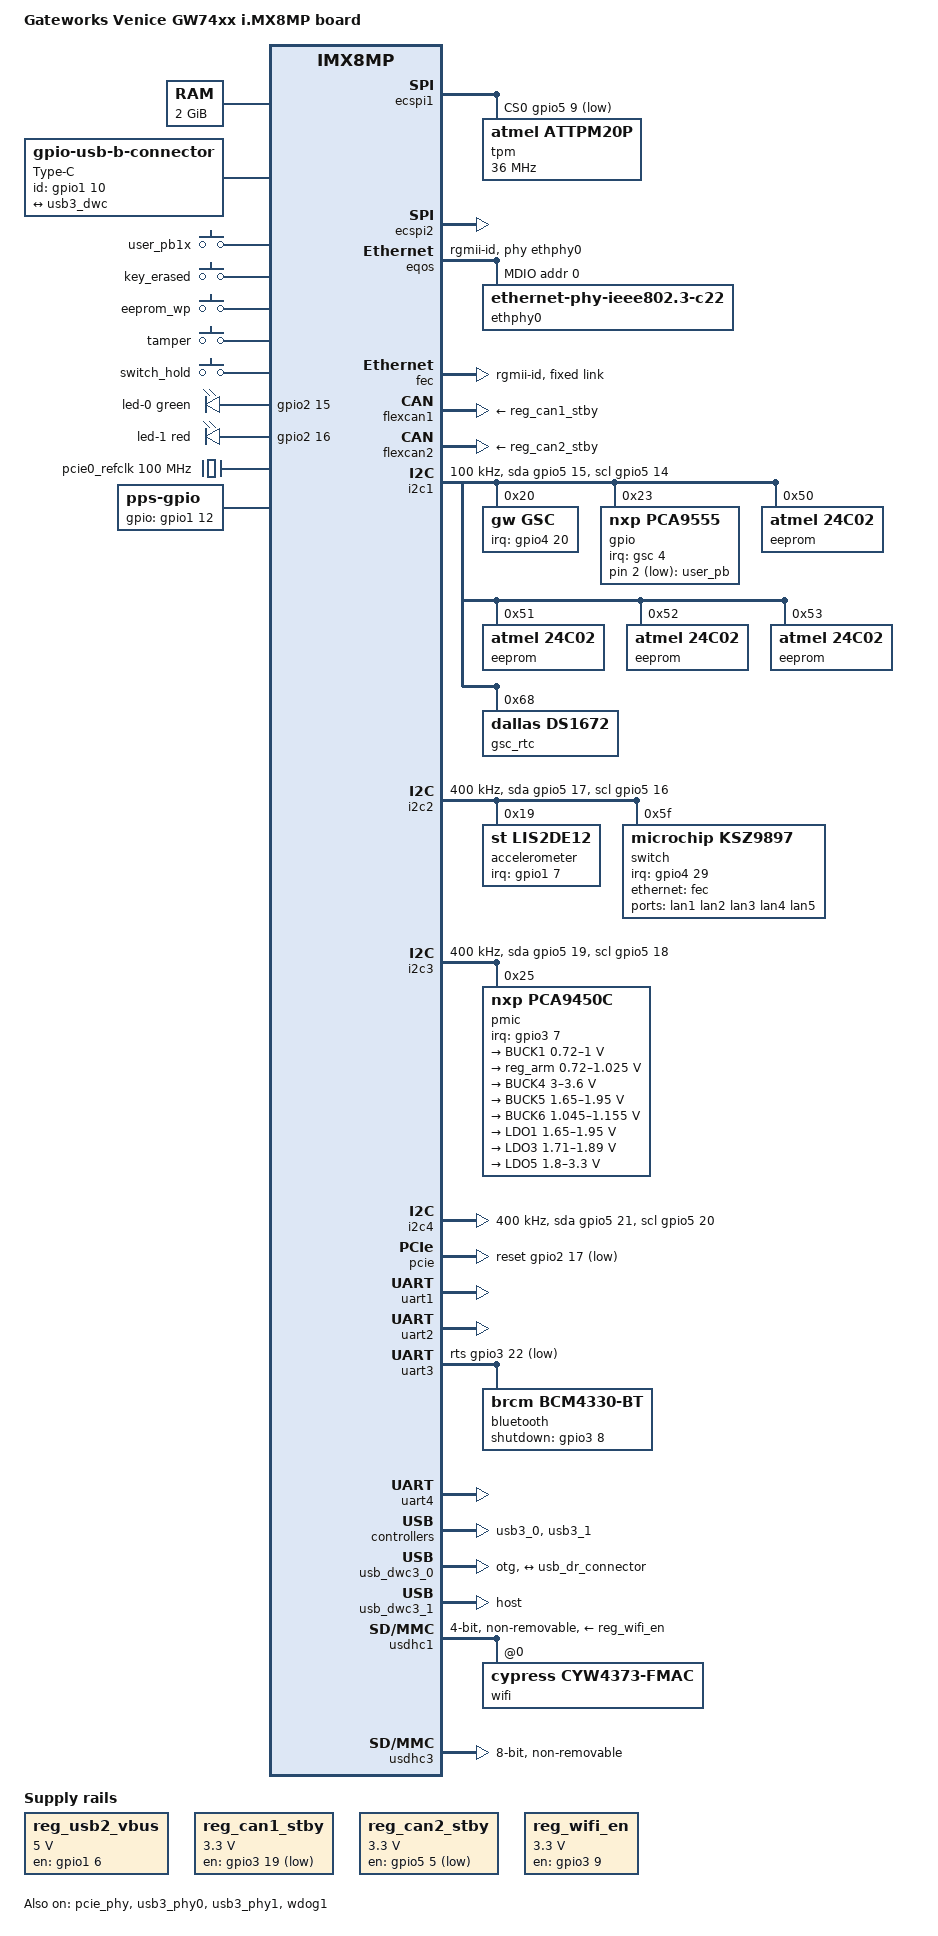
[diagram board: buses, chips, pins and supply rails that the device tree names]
// SPDX-License-Identifier: (GPL-2.0+ OR MIT)
/*
 * Copyright 2021 Gateworks Corporation
 */

/dts-v1/;

#include <dt-bindings/gpio/gpio.h>
#include <dt-bindings/input/linux-event-codes.h>
#include <dt-bindings/leds/common.h>
#include <dt-bindings/phy/phy-imx8-pcie.h>
#include <dt-bindings/net/ti-dp83867.h>

#include "imx8mp.dtsi"

/ {
	model = "Gateworks Venice GW74xx i.MX8MP board";
	compatible = "gateworks,imx8mp-gw74xx", "fsl,imx8mp";

	aliases {
		ethernet0 = &eqos;
		ethernet1 = &fec;
		ethernet2 = &lan1;
		ethernet3 = &lan2;
		ethernet4 = &lan3;
		ethernet5 = &lan4;
		ethernet6 = &lan5;
		rtc0 = &gsc_rtc;
		rtc1 = &snvs_rtc;
	};

	chosen {
		stdout-path = &uart2;
	};

	memory@40000000 {
		device_type = "memory";
		reg = <0x0 0x40000000 0 0x80000000>;
	};

	connector {
		pinctrl-names = "default";
		pinctrl-0 = <&pinctrl_usbcon1>;
		compatible = "gpio-usb-b-connector", "usb-b-connector";
		type = "micro";
		label = "Type-C";
		id-gpios = <&gpio1 10 GPIO_ACTIVE_HIGH>;

		port {
			usb_dr_connector: endpoint {
				remote-endpoint = <&usb3_dwc>;
			};
		};
	};

	gpio-keys {
		compatible = "gpio-keys";

		key-0 {
			label = "user_pb";
			gpios = <&gpio 2 GPIO_ACTIVE_LOW>;
			linux,code = <BTN_0>;
		};

		key-1 {
			label = "user_pb1x";
			linux,code = <BTN_1>;
			interrupt-parent = <&gsc>;
			interrupts = <0>;
		};

		key-2 {
			label = "key_erased";
			linux,code = <BTN_2>;
			interrupt-parent = <&gsc>;
			interrupts = <1>;
		};

		key-3 {
			label = "eeprom_wp";
			linux,code = <BTN_3>;
			interrupt-parent = <&gsc>;
			interrupts = <2>;
		};

		key-4 {
			label = "tamper";
			linux,code = <BTN_4>;
			interrupt-parent = <&gsc>;
			interrupts = <5>;
		};

		key-5 {
			label = "switch_hold";
			linux,code = <BTN_5>;
			interrupt-parent = <&gsc>;
			interrupts = <7>;
		};
	};

	led-controller {
		compatible = "gpio-leds";
		pinctrl-names = "default";
		pinctrl-0 = <&pinctrl_gpio_leds>;

		led-0 {
			function = LED_FUNCTION_HEARTBEAT;
			color = <LED_COLOR_ID_GREEN>;
			gpios = <&gpio2 15 GPIO_ACTIVE_HIGH>;
			default-state = "on";
			linux,default-trigger = "heartbeat";
		};

		led-1 {
			function = LED_FUNCTION_STATUS;
			color = <LED_COLOR_ID_RED>;
			gpios = <&gpio2 16 GPIO_ACTIVE_HIGH>;
			default-state = "off";
		};
	};

	pcie0_refclk: pcie0-refclk {
		compatible = "fixed-clock";
		#clock-cells = <0>;
		clock-frequency = <100000000>;
	};

	pps {
		compatible = "pps-gpio";
		pinctrl-names = "default";
		pinctrl-0 = <&pinctrl_pps>;
		gpios = <&gpio1 12 GPIO_ACTIVE_HIGH>;
	};

	reg_usb2_vbus: regulator-usb2 {
		pinctrl-names = "default";
		pinctrl-0 = <&pinctrl_reg_usb2>;
		compatible = "regulator-fixed";
		regulator-name = "usb_usb2_vbus";
		gpio = <&gpio1 6 GPIO_ACTIVE_HIGH>;
		enable-active-high;
		regulator-min-microvolt = <5000000>;
		regulator-max-microvolt = <5000000>;
	};

	reg_can1_stby: regulator-can1-stby {
		compatible = "regulator-fixed";
		pinctrl-names = "default";
		pinctrl-0 = <&pinctrl_reg_can1>;
		regulator-name = "can1_stby";
		gpio = <&gpio3 19 GPIO_ACTIVE_LOW>;
		regulator-min-microvolt = <3300000>;
		regulator-max-microvolt = <3300000>;
	};

	reg_can2_stby: regulator-can2-stby {
		compatible = "regulator-fixed";
		pinctrl-names = "default";
		pinctrl-0 = <&pinctrl_reg_can2>;
		regulator-name = "can2_stby";
		gpio = <&gpio5 5 GPIO_ACTIVE_LOW>;
		regulator-min-microvolt = <3300000>;
		regulator-max-microvolt = <3300000>;
	};

	reg_wifi_en: regulator-wifi-en {
		pinctrl-names = "default";
		pinctrl-0 = <&pinctrl_reg_wifi>;
		compatible = "regulator-fixed";
		regulator-name = "wl";
		gpio = <&gpio3 9 GPIO_ACTIVE_HIGH>;
		startup-delay-us = <70000>;
		enable-active-high;
		regulator-min-microvolt = <3300000>;
		regulator-max-microvolt = <3300000>;
	};
};

&A53_0 {
	cpu-supply = <&reg_arm>;
};

&A53_1 {
	cpu-supply = <&reg_arm>;
};

&A53_2 {
	cpu-supply = <&reg_arm>;
};

&A53_3 {
	cpu-supply = <&reg_arm>;
};

&ecspi1 {
	pinctrl-names = "default";
	pinctrl-0 = <&pinctrl_spi1>;
	cs-gpios = <&gpio5 9 GPIO_ACTIVE_LOW>;
	status = "okay";

	tpm@0 {
		compatible = "atmel,attpm20p", "tcg,tpm_tis-spi";
		reg = <0x0>;
		spi-max-frequency = <36000000>;
	};
};

/* off-board header */
&ecspi2 {
	pinctrl-names = "default";
	pinctrl-0 = <&pinctrl_spi2>;
	cs-gpios = <&gpio5 13 GPIO_ACTIVE_LOW>;
	status = "okay";
};

&eqos {
	pinctrl-names = "default";
	pinctrl-0 = <&pinctrl_eqos>;
	phy-mode = "rgmii-id";
	phy-handle = <&ethphy0>;
	status = "okay";

	mdio {
		compatible = "snps,dwmac-mdio";
		#address-cells = <1>;
		#size-cells = <0>;

		ethphy0: ethernet-phy@0 {
			compatible = "ethernet-phy-ieee802.3-c22";
			reg = <0x0>;
			ti,rx-internal-delay = <DP83867_RGMIIDCTL_2_00_NS>;
			ti,tx-internal-delay = <DP83867_RGMIIDCTL_2_00_NS>;
			tx-fifo-depth = <DP83867_PHYCR_FIFO_DEPTH_4_B_NIB>;
			rx-fifo-depth = <DP83867_PHYCR_FIFO_DEPTH_4_B_NIB>;

			leds {
				#address-cells = <1>;
				#size-cells = <0>;

				led@1 {
					reg = <1>;
					color = <LED_COLOR_ID_AMBER>;
					function = LED_FUNCTION_LAN;
					default-state = "keep";
				};

				led@2 {
					reg = <2>;
					color = <LED_COLOR_ID_GREEN>;
					function = LED_FUNCTION_LAN;
					default-state = "keep";
				};
			};
		};
	};
};

&fec {
	pinctrl-names = "default";
	pinctrl-0 = <&pinctrl_fec>;
	phy-mode = "rgmii-id";
	local-mac-address = [00 00 00 00 00 00];
	status = "okay";

	fixed-link {
		speed = <1000>;
		full-duplex;
	};
};

&flexcan1 {
	pinctrl-names = "default";
	pinctrl-0 = <&pinctrl_flexcan1>;
	xceiver-supply = <&reg_can1_stby>;
	status = "okay";
};

&flexcan2 {
	pinctrl-names = "default";
	pinctrl-0 = <&pinctrl_flexcan2>;
	xceiver-supply = <&reg_can2_stby>;
	status = "okay";
};

&gpio1 {
	gpio-line-names =
		"", "", "", "", "", "", "", "",
		"", "dio0", "", "dio1", "", "", "", "",
		"", "", "", "", "", "", "", "",
		"", "", "", "", "", "", "", "";
};

&gpio2 {
	gpio-line-names =
		"", "", "", "", "", "", "m2_pin20", "",
		"", "", "", "", "", "pcie1_wdis#", "pcie3_wdis#", "",
		"", "", "pcie2_wdis#", "", "", "", "", "",
		"", "", "", "", "", "", "", "";
};

&gpio3 {
	gpio-line-names =
		"", "", "", "", "", "", "m2_rst", "",
		"", "", "", "", "", "", "m2_gpio10", "",
		"", "", "", "", "", "", "", "",
		"", "", "", "", "", "", "", "";
};

&gpio4 {
	gpio-line-names =
		"", "", "m2_off#", "", "", "", "", "",
		"", "", "", "", "", "", "", "",
		"", "", "m2_wdis#", "", "", "", "", "",
		"", "", "", "", "", "", "", "rs485_en";
};

&gpio5 {
	gpio-line-names =
		"rs485_hd", "rs485_term", "", "", "", "", "", "",
		"", "", "", "", "", "", "", "",
		"", "", "", "", "", "", "", "",
		"", "", "", "", "", "", "", "";
};

&i2c1 {
	clock-frequency = <100000>;
	pinctrl-names = "default", "gpio";
	pinctrl-0 = <&pinctrl_i2c1>;
	pinctrl-1 = <&pinctrl_i2c1_gpio>;
	scl-gpios = <&gpio5 14 (GPIO_ACTIVE_HIGH | GPIO_OPEN_DRAIN)>;
	sda-gpios = <&gpio5 15 (GPIO_ACTIVE_HIGH | GPIO_OPEN_DRAIN)>;
	status = "okay";

	gsc: gsc@20 {
		compatible = "gw,gsc";
		reg = <0x20>;
		pinctrl-0 = <&pinctrl_gsc>;
		interrupt-parent = <&gpio4>;
		interrupts = <20 IRQ_TYPE_EDGE_FALLING>;
		interrupt-controller;
		#interrupt-cells = <1>;
		#address-cells = <1>;
		#size-cells = <0>;

		adc {
			compatible = "gw,gsc-adc";
			#address-cells = <1>;
			#size-cells = <0>;

			channel@6 {
				gw,mode = <0>;
				reg = <0x06>;
				label = "temp";
			};

			channel@8 {
				gw,mode = <3>;
				reg = <0x08>;
				label = "vdd_bat";
			};

			channel@16 {
				gw,mode = <4>;
				reg = <0x16>;
				label = "fan_tach";
			};

			channel@82 {
				gw,mode = <2>;
				reg = <0x82>;
				label = "vdd_adc1";
				gw,voltage-divider-ohms = <10000 10000>;
			};

			channel@84 {
				gw,mode = <2>;
				reg = <0x84>;
				label = "vdd_adc2";
				gw,voltage-divider-ohms = <10000 10000>;
			};

			channel@86 {
				gw,mode = <2>;
				reg = <0x86>;
				label = "vdd_vin";
				gw,voltage-divider-ohms = <22100 1000>;
			};

			channel@88 {
				gw,mode = <2>;
				reg = <0x88>;
				label = "vdd_3p3";
				gw,voltage-divider-ohms = <10000 10000>;
			};

			channel@8c {
				gw,mode = <2>;
				reg = <0x8c>;
				label = "vdd_2p5";
				gw,voltage-divider-ohms = <10000 10000>;
			};

			channel@90 {
				gw,mode = <2>;
				reg = <0x90>;
				label = "vdd_soc";
			};

			channel@92 {
				gw,mode = <2>;
				reg = <0x92>;
				label = "vdd_arm";
			};

			channel@98 {
				gw,mode = <2>;
				reg = <0x98>;
				label = "vdd_1p8";
			};

			channel@9a {
				gw,mode = <2>;
				reg = <0x9a>;
				label = "vdd_1p2";
			};

			channel@9c {
				gw,mode = <2>;
				reg = <0x9c>;
				label = "vdd_dram";
			};

			channel@9e {
				gw,mode = <2>;
				reg = <0x9e>;
				label = "vdd_1p0";
			};

			channel@a2 {
				gw,mode = <2>;
				reg = <0xa2>;
				label = "vdd_gsc";
				gw,voltage-divider-ohms = <10000 10000>;
			};
		};

		fan-controller@a {
			compatible = "gw,gsc-fan";
			reg = <0x0a>;
		};
	};

	gpio: gpio@23 {
		compatible = "nxp,pca9555";
		reg = <0x23>;
		gpio-controller;
		#gpio-cells = <2>;
		interrupt-parent = <&gsc>;
		interrupts = <4>;
	};

	eeprom@50 {
		compatible = "atmel,24c02";
		reg = <0x50>;
		pagesize = <16>;
	};

	eeprom@51 {
		compatible = "atmel,24c02";
		reg = <0x51>;
		pagesize = <16>;
	};

	eeprom@52 {
		compatible = "atmel,24c02";
		reg = <0x52>;
		pagesize = <16>;
	};

	eeprom@53 {
		compatible = "atmel,24c02";
		reg = <0x53>;
		pagesize = <16>;
	};

	gsc_rtc: rtc@68 {
		compatible = "dallas,ds1672";
		reg = <0x68>;
	};
};

&i2c2 {
	clock-frequency = <400000>;
	pinctrl-names = "default", "gpio";
	pinctrl-0 = <&pinctrl_i2c2>;
	pinctrl-1 = <&pinctrl_i2c2_gpio>;
	scl-gpios = <&gpio5 16 (GPIO_ACTIVE_HIGH | GPIO_OPEN_DRAIN)>;
	sda-gpios = <&gpio5 17 (GPIO_ACTIVE_HIGH | GPIO_OPEN_DRAIN)>;
	status = "okay";

	accelerometer@19 {
		compatible = "st,lis2de12";
		pinctrl-names = "default";
		pinctrl-0 = <&pinctrl_accel>;
		reg = <0x19>;
		st,drdy-int-pin = <1>;
		interrupt-parent = <&gpio1>;
		interrupts = <7 IRQ_TYPE_LEVEL_LOW>;
	};

	switch: switch@5f {
		compatible = "microchip,ksz9897";
		reg = <0x5f>;
		pinctrl-0 = <&pinctrl_ksz>;
		interrupt-parent = <&gpio4>;
		interrupts = <29 IRQ_TYPE_EDGE_FALLING>;

		ports {
			#address-cells = <1>;
			#size-cells = <0>;

			lan1: port@0 {
				reg = <0>;
				label = "lan1";
				phy-mode = "internal";
				local-mac-address = [00 00 00 00 00 00];
			};

			lan2: port@1 {
				reg = <1>;
				label = "lan2";
				phy-mode = "internal";
				local-mac-address = [00 00 00 00 00 00];
			};

			lan3: port@2 {
				reg = <2>;
				label = "lan3";
				phy-mode = "internal";
				local-mac-address = [00 00 00 00 00 00];
			};

			lan4: port@3 {
				reg = <3>;
				label = "lan4";
				phy-mode = "internal";
				local-mac-address = [00 00 00 00 00 00];
			};

			lan5: port@4 {
				reg = <4>;
				label = "lan5";
				phy-mode = "internal";
				local-mac-address = [00 00 00 00 00 00];
			};

			port@5 {
				reg = <5>;
				ethernet = <&fec>;
				phy-mode = "rgmii-id";

				fixed-link {
					speed = <1000>;
					full-duplex;
				};
			};
		};
	};
};

&i2c3 {
	clock-frequency = <400000>;
	pinctrl-names = "default", "gpio";
	pinctrl-0 = <&pinctrl_i2c3>;
	pinctrl-1 = <&pinctrl_i2c3_gpio>;
	scl-gpios = <&gpio5 18 (GPIO_ACTIVE_HIGH | GPIO_OPEN_DRAIN)>;
	sda-gpios = <&gpio5 19 (GPIO_ACTIVE_HIGH | GPIO_OPEN_DRAIN)>;
	status = "okay";

	pmic@25 {
		compatible = "nxp,pca9450c";
		reg = <0x25>;
		pinctrl-names = "default";
		pinctrl-0 = <&pinctrl_pmic>;
		interrupt-parent = <&gpio3>;
		interrupts = <7 IRQ_TYPE_LEVEL_LOW>;

		regulators {
			BUCK1 {
				regulator-name = "BUCK1";
				regulator-min-microvolt = <720000>;
				regulator-max-microvolt = <1000000>;
				regulator-boot-on;
				regulator-always-on;
				regulator-ramp-delay = <3125>;
			};

			reg_arm: BUCK2 {
				regulator-name = "BUCK2";
				regulator-min-microvolt = <720000>;
				regulator-max-microvolt = <1025000>;
				regulator-boot-on;
				regulator-always-on;
				regulator-ramp-delay = <3125>;
				nxp,dvs-run-voltage = <950000>;
				nxp,dvs-standby-voltage = <850000>;
			};

			BUCK4 {
				regulator-name = "BUCK4";
				regulator-min-microvolt = <3000000>;
				regulator-max-microvolt = <3600000>;
				regulator-boot-on;
				regulator-always-on;
			};

			BUCK5 {
				regulator-name = "BUCK5";
				regulator-min-microvolt = <1650000>;
				regulator-max-microvolt = <1950000>;
				regulator-boot-on;
				regulator-always-on;
			};

			BUCK6 {
				regulator-name = "BUCK6";
				regulator-min-microvolt = <1045000>;
				regulator-max-microvolt = <1155000>;
				regulator-boot-on;
				regulator-always-on;
			};

			LDO1 {
				regulator-name = "LDO1";
				regulator-min-microvolt = <1650000>;
				regulator-max-microvolt = <1950000>;
				regulator-boot-on;
				regulator-always-on;
			};

			LDO3 {
				regulator-name = "LDO3";
				regulator-min-microvolt = <1710000>;
				regulator-max-microvolt = <1890000>;
				regulator-boot-on;
				regulator-always-on;
			};

			LDO5 {
				regulator-name = "LDO5";
				regulator-min-microvolt = <1800000>;
				regulator-max-microvolt = <3300000>;
				regulator-boot-on;
				regulator-always-on;
			};
		};
	};
};

/* off-board header */
&i2c4 {
	clock-frequency = <400000>;
	pinctrl-names = "default", "gpio";
	pinctrl-0 = <&pinctrl_i2c4>;
	pinctrl-1 = <&pinctrl_i2c4_gpio>;
	scl-gpios = <&gpio5 20 (GPIO_ACTIVE_HIGH | GPIO_OPEN_DRAIN)>;
	sda-gpios = <&gpio5 21 (GPIO_ACTIVE_HIGH | GPIO_OPEN_DRAIN)>;
	status = "okay";
};

&pcie_phy {
	fsl,refclk-pad-mode = <IMX8_PCIE_REFCLK_PAD_INPUT>;
	fsl,clkreq-unsupported;
	clocks = <&pcie0_refclk>;
	clock-names = "ref";
	status = "okay";
};

&pcie {
	pinctrl-names = "default";
	pinctrl-0 = <&pinctrl_pcie0>;
	reset-gpio = <&gpio2 17 GPIO_ACTIVE_LOW>;
	status = "okay";
};

/* GPS / off-board header */
&uart1 {
	pinctrl-names = "default";
	pinctrl-0 = <&pinctrl_uart1>;
	status = "okay";
};

/* RS232 console */
&uart2 {
	pinctrl-names = "default";
	pinctrl-0 = <&pinctrl_uart2>;
	status = "okay";
};

/* bluetooth HCI */
&uart3 {
	pinctrl-names = "default";
	pinctrl-0 = <&pinctrl_uart3>, <&pinctrl_uart3_gpio>;
	cts-gpios = <&gpio3 21 GPIO_ACTIVE_LOW>;
	rts-gpios = <&gpio3 22 GPIO_ACTIVE_LOW>;
	status = "okay";

	bluetooth {
		compatible = "brcm,bcm4330-bt";
		shutdown-gpios = <&gpio3 8 GPIO_ACTIVE_HIGH>;
	};
};

&uart4 {
	pinctrl-names = "default";
	pinctrl-0 = <&pinctrl_uart4>;
	status = "okay";
};

/* USB1 - Type C front panel */
&usb3_0 {
	pinctrl-names = "default";
	pinctrl-0 = <&pinctrl_usb1>;
	fsl,over-current-active-low;
	status = "okay";
};

&usb3_phy0 {
	status = "okay";
};

&usb_dwc3_0 {
	/* dual role is implemented but not a full featured OTG */
	adp-disable;
	hnp-disable;
	srp-disable;
	dr_mode = "otg";
	usb-role-switch;
	role-switch-default-mode = "peripheral";
	status = "okay";

	port {
		usb3_dwc: endpoint {
			remote-endpoint = <&usb_dr_connector>;
		};
	};
};

/* USB2 - USB3.0 Hub */
&usb3_phy1 {
	vbus-supply = <&reg_usb2_vbus>;
	status = "okay";
};

&usb3_1 {
	fsl,permanently-attached;
	fsl,disable-port-power-control;
	status = "okay";
};

&usb_dwc3_1 {
	dr_mode = "host";
	status = "okay";
};

/* SDIO WiFi */
&usdhc1 {
	pinctrl-names = "default", "state_100mhz", "state_200mhz";
	pinctrl-0 = <&pinctrl_usdhc1>;
	pinctrl-1 = <&pinctrl_usdhc1_100mhz>;
	pinctrl-2 = <&pinctrl_usdhc1_200mhz>;
	bus-width = <4>;
	non-removable;
	vmmc-supply = <&reg_wifi_en>;
	#address-cells = <1>;
	#size-cells = <0>;
	status = "okay";

	wifi@0 {
		compatible = "cypress,cyw4373-fmac", "brcm,bcm4329-fmac";
		reg = <0>;
	};
};

/* eMMC */
&usdhc3 {
	assigned-clocks = <&clk IMX8MP_CLK_USDHC3>;
	assigned-clock-rates = <400000000>;
	pinctrl-names = "default", "state_100mhz", "state_200mhz";
	pinctrl-0 = <&pinctrl_usdhc3>;
	pinctrl-1 = <&pinctrl_usdhc3_100mhz>;
	pinctrl-2 = <&pinctrl_usdhc3_200mhz>;
	bus-width = <8>;
	non-removable;
	status = "okay";
};

&wdog1 {
	pinctrl-names = "default";
	pinctrl-0 = <&pinctrl_wdog>;
	fsl,ext-reset-output;
	status = "okay";
};

&iomuxc {
	pinctrl-names = "default";
	pinctrl-0 = <&pinctrl_hog>;

	pinctrl_hog: hoggrp {
		fsl,pins = <
			MX8MP_IOMUXC_GPIO1_IO09__GPIO1_IO09	0x40000040 /* DIO0 */
			MX8MP_IOMUXC_GPIO1_IO11__GPIO1_IO11	0x40000040 /* DIO1 */
			MX8MP_IOMUXC_SAI1_RXD0__GPIO4_IO02	0x40000040 /* M2SKT_OFF# */
			MX8MP_IOMUXC_SAI1_TXD6__GPIO4_IO18	0x40000150 /* M2SKT_WDIS# */
			MX8MP_IOMUXC_SD1_DATA4__GPIO2_IO06	0x40000040 /* M2SKT_PIN20 */
			MX8MP_IOMUXC_SD1_STROBE__GPIO2_IO11	0x40000040 /* M2SKT_PIN22 */
			MX8MP_IOMUXC_SD2_CLK__GPIO2_IO13	0x40000150 /* PCIE1_WDIS# */
			MX8MP_IOMUXC_SD2_CMD__GPIO2_IO14	0x40000150 /* PCIE3_WDIS# */
			MX8MP_IOMUXC_SD2_DATA3__GPIO2_IO18	0x40000150 /* PCIE2_WDIS# */
			MX8MP_IOMUXC_NAND_DATA00__GPIO3_IO06	0x40000040 /* M2SKT_RST# */
			MX8MP_IOMUXC_NAND_DQS__GPIO3_IO14	0x40000040 /* M2SKT_GPIO10 */
			MX8MP_IOMUXC_SAI3_TXD__GPIO5_IO01	0x40000104 /* UART_TERM */
			MX8MP_IOMUXC_SAI3_TXFS__GPIO4_IO31	0x40000104 /* UART_RS485 */
			MX8MP_IOMUXC_SAI3_TXC__GPIO5_IO00	0x40000104 /* UART_HALF */
		>;
	};

	pinctrl_accel: accelgrp {
		fsl,pins = <
			MX8MP_IOMUXC_GPIO1_IO07__GPIO1_IO07	0x150
		>;
	};

	pinctrl_eqos: eqosgrp {
		fsl,pins = <
			MX8MP_IOMUXC_ENET_MDC__ENET_QOS_MDC				0x2
			MX8MP_IOMUXC_ENET_MDIO__ENET_QOS_MDIO				0x2
			MX8MP_IOMUXC_ENET_RD0__ENET_QOS_RGMII_RD0		0x90
			MX8MP_IOMUXC_ENET_RD1__ENET_QOS_RGMII_RD1		0x90
			MX8MP_IOMUXC_ENET_RD2__ENET_QOS_RGMII_RD2		0x90
			MX8MP_IOMUXC_ENET_RD3__ENET_QOS_RGMII_RD3		0x90
			MX8MP_IOMUXC_ENET_RXC__CCM_ENET_QOS_CLOCK_GENERATE_RX_CLK	0x90
			MX8MP_IOMUXC_ENET_RX_CTL__ENET_QOS_RGMII_RX_CTL		0x90
			MX8MP_IOMUXC_ENET_TD0__ENET_QOS_RGMII_TD0		0x16
			MX8MP_IOMUXC_ENET_TD1__ENET_QOS_RGMII_TD1		0x16
			MX8MP_IOMUXC_ENET_TD2__ENET_QOS_RGMII_TD2		0x16
			MX8MP_IOMUXC_ENET_TD3__ENET_QOS_RGMII_TD3		0x16
			MX8MP_IOMUXC_ENET_TX_CTL__ENET_QOS_RGMII_TX_CTL		0x16
			MX8MP_IOMUXC_ENET_TXC__CCM_ENET_QOS_CLOCK_GENERATE_TX_CLK	0x16
			MX8MP_IOMUXC_SAI3_RXD__GPIO4_IO30		0x140 /* RST# */
			MX8MP_IOMUXC_SAI3_RXFS__GPIO4_IO28		0x150 /* IRQ# */
		>;
	};

	pinctrl_fec: fecgrp {
		fsl,pins = <
			MX8MP_IOMUXC_SAI1_RXD4__ENET1_RGMII_RD0		0x90
			MX8MP_IOMUXC_SAI1_RXD5__ENET1_RGMII_RD1		0x90
			MX8MP_IOMUXC_SAI1_RXD6__ENET1_RGMII_RD2		0x90
			MX8MP_IOMUXC_SAI1_RXD7__ENET1_RGMII_RD3		0x90
			MX8MP_IOMUXC_SAI1_TXC__ENET1_RGMII_RXC		0x90
			MX8MP_IOMUXC_SAI1_TXFS__ENET1_RGMII_RX_CTL	0x90
			MX8MP_IOMUXC_SAI1_TXD0__ENET1_RGMII_TD0		0x16
			MX8MP_IOMUXC_SAI1_TXD1__ENET1_RGMII_TD1		0x16
			MX8MP_IOMUXC_SAI1_TXD2__ENET1_RGMII_TD2		0x16
			MX8MP_IOMUXC_SAI1_TXD3__ENET1_RGMII_TD3		0x16
			MX8MP_IOMUXC_SAI1_TXD4__ENET1_RGMII_TX_CTL	0x16
			MX8MP_IOMUXC_SAI1_TXD5__ENET1_RGMII_TXC		0x16
			MX8MP_IOMUXC_SAI1_RXFS__ENET1_1588_EVENT0_IN	0x140
			MX8MP_IOMUXC_SAI1_RXC__ENET1_1588_EVENT0_OUT	0x140
		>;
	};

	pinctrl_flexcan1: flexcan1grp {
		fsl,pins = <
			MX8MP_IOMUXC_SPDIF_RX__CAN1_RX		0x154
			MX8MP_IOMUXC_SPDIF_TX__CAN1_TX		0x154
		>;
	};

	pinctrl_flexcan2: flexcan2grp {
		fsl,pins = <
			MX8MP_IOMUXC_SAI5_RXD3__CAN2_TX		0x154
			MX8MP_IOMUXC_SAI5_MCLK__CAN2_RX		0x154
		>;
	};

	pinctrl_gsc: gscgrp {
		fsl,pins = <
			MX8MP_IOMUXC_SAI1_MCLK__GPIO4_IO20	0x150
		>;
	};

	pinctrl_i2c1: i2c1grp {
		fsl,pins = <
			MX8MP_IOMUXC_I2C1_SCL__I2C1_SCL		0x400001c2
			MX8MP_IOMUXC_I2C1_SDA__I2C1_SDA		0x400001c2
		>;
	};

	pinctrl_i2c1_gpio: i2c1gpiogrp {
		fsl,pins = <
			MX8MP_IOMUXC_I2C1_SCL__GPIO5_IO14	0x400001c2
			MX8MP_IOMUXC_I2C1_SDA__GPIO5_IO15	0x400001c2
		>;
	};

	pinctrl_i2c2: i2c2grp {
		fsl,pins = <
			MX8MP_IOMUXC_I2C2_SCL__I2C2_SCL		0x400001c2
			MX8MP_IOMUXC_I2C2_SDA__I2C2_SDA		0x400001c2
		>;
	};

	pinctrl_i2c2_gpio: i2c2gpiogrp {
		fsl,pins = <
			MX8MP_IOMUXC_I2C2_SCL__GPIO5_IO16	0x400001c3
			MX8MP_IOMUXC_I2C2_SDA__GPIO5_IO17	0x400001c3
		>;
	};

	pinctrl_i2c3: i2c3grp {
		fsl,pins = <
			MX8MP_IOMUXC_I2C3_SCL__I2C3_SCL		0x400001c2
			MX8MP_IOMUXC_I2C3_SDA__I2C3_SDA		0x400001c2
		>;
	};

	pinctrl_i2c3_gpio: i2c3gpiogrp {
		fsl,pins = <
			MX8MP_IOMUXC_I2C3_SCL__GPIO5_IO18	0x400001c3
			MX8MP_IOMUXC_I2C3_SDA__GPIO5_IO19	0x400001c3
		>;
	};

	pinctrl_i2c4: i2c4grp {
		fsl,pins = <
			MX8MP_IOMUXC_I2C4_SCL__I2C4_SCL		0x400001c2
			MX8MP_IOMUXC_I2C4_SDA__I2C4_SDA		0x400001c2
		>;
	};

	pinctrl_i2c4_gpio: i2c4gpiogrp {
		fsl,pins = <
			MX8MP_IOMUXC_I2C4_SCL__GPIO5_IO20	0x400001c3
			MX8MP_IOMUXC_I2C4_SDA__GPIO5_IO21	0x400001c3
		>;
	};

	pinctrl_ksz: kszgrp {
		fsl,pins = <
			MX8MP_IOMUXC_SAI3_RXC__GPIO4_IO29	0x150 /* IRQ# */
			MX8MP_IOMUXC_SAI3_MCLK__GPIO5_IO02	0x140 /* RST# */
		>;
	};

	pinctrl_gpio_leds: ledgrp {
		fsl,pins = <
			MX8MP_IOMUXC_SD2_DATA0__GPIO2_IO15	0x10
			MX8MP_IOMUXC_SD2_DATA1__GPIO2_IO16	0x10
		>;
	};

	pinctrl_pcie0: pciegrp {
		fsl,pins = <
			MX8MP_IOMUXC_SD2_DATA2__GPIO2_IO17	0x106
		>;
	};

	pinctrl_pmic: pmicgrp {
		fsl,pins = <
			MX8MP_IOMUXC_NAND_DATA01__GPIO3_IO07	0x140
		>;
	};

	pinctrl_pps: ppsgrp {
		fsl,pins = <
			MX8MP_IOMUXC_GPIO1_IO12__GPIO1_IO12	0x140
		>;
	};

	pinctrl_reg_can1: regcan1grp {
		fsl,pins = <
			MX8MP_IOMUXC_SAI5_RXFS__GPIO3_IO19	0x154
		>;
	};

	pinctrl_reg_can2: regcan2grp {
		fsl,pins = <
			MX8MP_IOMUXC_SPDIF_EXT_CLK__GPIO5_IO05	0x154
		>;
	};

	pinctrl_reg_usb2: regusb2grp {
		fsl,pins = <
			MX8MP_IOMUXC_GPIO1_IO06__GPIO1_IO06	0x140
		>;
	};

	pinctrl_reg_wifi: regwifigrp {
		fsl,pins = <
			MX8MP_IOMUXC_NAND_DATA03__GPIO3_IO09	0x110
		>;
	};

	pinctrl_spi1: spi1grp {
		fsl,pins = <
			MX8MP_IOMUXC_ECSPI1_SCLK__ECSPI1_SCLK	0x82
			MX8MP_IOMUXC_ECSPI1_MOSI__ECSPI1_MOSI	0x82
			MX8MP_IOMUXC_ECSPI1_MISO__ECSPI1_MISO	0x82
			MX8MP_IOMUXC_ECSPI1_SS0__GPIO5_IO09	0x140
		>;
	};

	pinctrl_spi2: spi2grp {
		fsl,pins = <
			MX8MP_IOMUXC_ECSPI2_SCLK__ECSPI2_SCLK	0x82
			MX8MP_IOMUXC_ECSPI2_MOSI__ECSPI2_MOSI	0x82
			MX8MP_IOMUXC_ECSPI2_MISO__ECSPI2_MISO	0x82
			MX8MP_IOMUXC_ECSPI2_SS0__GPIO5_IO13	0x140
		>;
	};

	pinctrl_uart1: uart1grp {
		fsl,pins = <
			MX8MP_IOMUXC_UART1_RXD__UART1_DCE_RX	0x140
			MX8MP_IOMUXC_UART1_TXD__UART1_DCE_TX	0x140
		>;
	};

	pinctrl_uart2: uart2grp {
		fsl,pins = <
			MX8MP_IOMUXC_UART2_RXD__UART2_DCE_RX	0x140
			MX8MP_IOMUXC_UART2_TXD__UART2_DCE_TX	0x140
		>;
	};

	pinctrl_uart3: uart3grp {
		fsl,pins = <
			MX8MP_IOMUXC_UART3_RXD__UART3_DCE_RX	0x140
			MX8MP_IOMUXC_UART3_TXD__UART3_DCE_TX	0x140
			MX8MP_IOMUXC_SAI5_RXD0__GPIO3_IO21	0x140
			MX8MP_IOMUXC_SAI5_RXD1__GPIO3_IO22	0x140
		>;
	};

	pinctrl_uart3_gpio: uart3gpiogrp {
		fsl,pins = <
			MX8MP_IOMUXC_NAND_DATA02__GPIO3_IO08	0x110
		>;
	};

	pinctrl_uart4: uart4grp {
		fsl,pins = <
			MX8MP_IOMUXC_UART4_RXD__UART4_DCE_RX	0x140
			MX8MP_IOMUXC_UART4_TXD__UART4_DCE_TX	0x140
		>;
	};

	pinctrl_usb1: usb1grp {
		fsl,pins = <
			MX8MP_IOMUXC_GPIO1_IO13__USB1_OTG_OC	0x140
		>;
	};

	pinctrl_usbcon1: usb1congrp {
		fsl,pins = <
			MX8MP_IOMUXC_GPIO1_IO10__GPIO1_IO10	0x140
		>;
	};

	pinctrl_usdhc1: usdhc1grp {
		fsl,pins = <
			MX8MP_IOMUXC_SD1_CLK__USDHC1_CLK	0x190
			MX8MP_IOMUXC_SD1_CMD__USDHC1_CMD	0x1d0
			MX8MP_IOMUXC_SD1_DATA0__USDHC1_DATA0	0x1d0
			MX8MP_IOMUXC_SD1_DATA1__USDHC1_DATA1	0x1d0
			MX8MP_IOMUXC_SD1_DATA2__USDHC1_DATA2	0x1d0
			MX8MP_IOMUXC_SD1_DATA3__USDHC1_DATA3	0x1d0
		>;
	};

	pinctrl_usdhc1_100mhz: usdhc1-100mhzgrp {
		fsl,pins = <
			MX8MP_IOMUXC_SD1_CLK__USDHC1_CLK	0x194
			MX8MP_IOMUXC_SD1_CMD__USDHC1_CMD	0x1d4
			MX8MP_IOMUXC_SD1_DATA0__USDHC1_DATA0	0x1d4
			MX8MP_IOMUXC_SD1_DATA1__USDHC1_DATA1	0x1d4
			MX8MP_IOMUXC_SD1_DATA2__USDHC1_DATA2	0x1d4
			MX8MP_IOMUXC_SD1_DATA3__USDHC1_DATA3	0x1d4
		>;
	};

	pinctrl_usdhc1_200mhz: usdhc1-200mhzgrp {
		fsl,pins = <
			MX8MP_IOMUXC_SD1_CLK__USDHC1_CLK	0x196
			MX8MP_IOMUXC_SD1_CMD__USDHC1_CMD	0x1d6
			MX8MP_IOMUXC_SD1_DATA0__USDHC1_DATA0	0x1d6
			MX8MP_IOMUXC_SD1_DATA1__USDHC1_DATA1	0x1d6
			MX8MP_IOMUXC_SD1_DATA2__USDHC1_DATA2	0x1d6
			MX8MP_IOMUXC_SD1_DATA3__USDHC1_DATA3	0x1d6
		>;
	};

	pinctrl_usdhc3: usdhc3grp {
		fsl,pins = <
			MX8MP_IOMUXC_NAND_WE_B__USDHC3_CLK	0x190
			MX8MP_IOMUXC_NAND_WP_B__USDHC3_CMD	0x1d0
			MX8MP_IOMUXC_NAND_DATA04__USDHC3_DATA0	0x1d0
			MX8MP_IOMUXC_NAND_DATA05__USDHC3_DATA1	0x1d0
			MX8MP_IOMUXC_NAND_DATA06__USDHC3_DATA2	0x1d0
			MX8MP_IOMUXC_NAND_DATA07__USDHC3_DATA3	0x1d0
			MX8MP_IOMUXC_NAND_RE_B__USDHC3_DATA4	0x1d0
			MX8MP_IOMUXC_NAND_CE2_B__USDHC3_DATA5	0x1d0
			MX8MP_IOMUXC_NAND_CE3_B__USDHC3_DATA6	0x1d0
			MX8MP_IOMUXC_NAND_CLE__USDHC3_DATA7	0x1d0
			MX8MP_IOMUXC_NAND_CE1_B__USDHC3_STROBE	0x190
		>;
	};

	pinctrl_usdhc3_100mhz: usdhc3-100mhzgrp {
		fsl,pins = <
			MX8MP_IOMUXC_NAND_WE_B__USDHC3_CLK	0x194
			MX8MP_IOMUXC_NAND_WP_B__USDHC3_CMD	0x1d4
			MX8MP_IOMUXC_NAND_DATA04__USDHC3_DATA0	0x1d4
			MX8MP_IOMUXC_NAND_DATA05__USDHC3_DATA1	0x1d4
			MX8MP_IOMUXC_NAND_DATA06__USDHC3_DATA2	0x1d4
			MX8MP_IOMUXC_NAND_DATA07__USDHC3_DATA3	0x1d4
			MX8MP_IOMUXC_NAND_RE_B__USDHC3_DATA4	0x1d4
			MX8MP_IOMUXC_NAND_CE2_B__USDHC3_DATA5	0x1d4
			MX8MP_IOMUXC_NAND_CE3_B__USDHC3_DATA6	0x1d4
			MX8MP_IOMUXC_NAND_CLE__USDHC3_DATA7	0x1d4
			MX8MP_IOMUXC_NAND_CE1_B__USDHC3_STROBE	0x194
		>;
	};

	pinctrl_usdhc3_200mhz: usdhc3-200mhzgrp {
		fsl,pins = <
			MX8MP_IOMUXC_NAND_WE_B__USDHC3_CLK	0x196
			MX8MP_IOMUXC_NAND_WP_B__USDHC3_CMD	0x1d6
			MX8MP_IOMUXC_NAND_DATA04__USDHC3_DATA0	0x1d6
			MX8MP_IOMUXC_NAND_DATA05__USDHC3_DATA1	0x1d6
			MX8MP_IOMUXC_NAND_DATA06__USDHC3_DATA2	0x1d6
			MX8MP_IOMUXC_NAND_DATA07__USDHC3_DATA3	0x1d6
			MX8MP_IOMUXC_NAND_RE_B__USDHC3_DATA4	0x1d6
			MX8MP_IOMUXC_NAND_CE2_B__USDHC3_DATA5	0x1d6
			MX8MP_IOMUXC_NAND_CE3_B__USDHC3_DATA6	0x1d6
			MX8MP_IOMUXC_NAND_CLE__USDHC3_DATA7	0x1d6
			MX8MP_IOMUXC_NAND_CE1_B__USDHC3_STROBE	0x196
		>;
	};

	pinctrl_wdog: wdoggrp {
		fsl,pins = <
			MX8MP_IOMUXC_GPIO1_IO02__WDOG1_WDOG_B	0x166
		>;
	};
};
